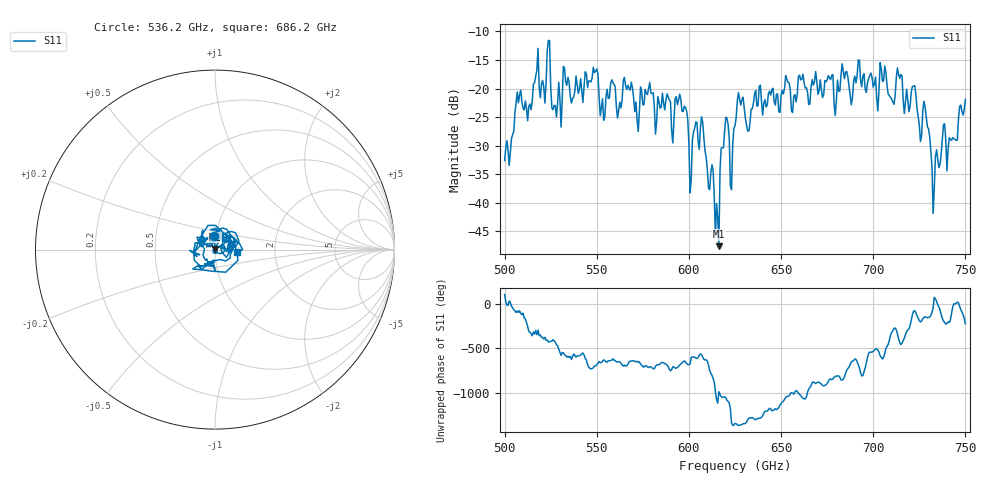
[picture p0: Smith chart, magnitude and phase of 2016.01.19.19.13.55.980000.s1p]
!Created with skrf (http://scikit-rf.org).
# GHz S RI R 50.0
!freq ReS11 ImS11
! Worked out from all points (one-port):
!   401 points, 500 GHz to 750 GHz, reference 50 ohm
!   lowest |S11| = -47.6 dB at 616.2 GHz (marker M1), VSWR 1.01, Z = 50 + j0.417 ohm
!   |S11| at or under -10 dB: start of sweep to end of sweep
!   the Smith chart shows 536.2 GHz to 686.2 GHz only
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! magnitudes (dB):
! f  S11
! 500 GHz  -32.6
! 516.9 GHz  -17.8
! 520.6 GHz  -18.6
! 523.8 GHz  -11.6
! 526.9 GHz  -22.9
! 531.2 GHz  -22.0
! 549.4 GHz  -17.0
! 553.1 GHz  -21.8
! 558.8 GHz  -18.9
! 562.5 GHz  -22.4
! 565.6 GHz  -19.5
! 571.9 GHz  -25.5
! 593.8 GHz  -22.8
! 601.2 GHz  -35.9
! 607.5 GHz  -26.0
! 615 GHz  -40.1
! 616.2 GHz  -47.6
! 619.4 GHz  -27.4
! 623.1 GHz  -37.7
! 625 GHz  -26.5
! 656.2 GHz  -24.2
! 687.5 GHz  -21.3
! 710.6 GHz  -22.4
! 714.4 GHz  -18.2
! 718.8 GHz  -22.0
! 728.1 GHz  -23.2
! 732.5 GHz  -41.9
! 750 GHz  -21.9
